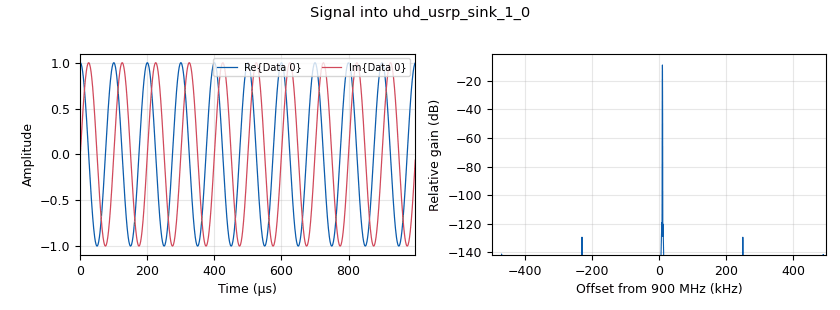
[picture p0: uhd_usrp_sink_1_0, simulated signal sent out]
<?xml version='1.0' encoding='utf-8'?>
<?grc format='1' created='3.7.11'?>
<flow_graph>
<block>
<key>options</key>
<param><key>id</key><value>antenna_test_tx</value></param>
<param><key>generate_options</key><value>qt_gui</value></param>
</block>
<block>
<key>variable_qtgui_range</key>
<param><key>id</key><value>gain</value></param>
<param><key>value</key><value>70</value></param>
<param><key>orient</key><value>Qt.Horizontal</value></param>
<param><key>start</key><value>0</value></param>
<param><key>step</key><value>1</value></param>
<param><key>stop</key><value>70</value></param>
</block>
<block>
<key>variable</key>
<param><key>id</key><value>samp_rate</value></param>
<param><key>value</key><value>1e6</value></param>
</block>
<block>
<key>variable_qtgui_chooser</key>
<param><key>id</key><value>tx_freq</value></param>
<param><key>value</key><value>900000000</value></param>
<param><key>label0</key><value>900</value></param>
<param><key>label1</key><value>2400</value></param>
<param><key>label2</key><value>5800</value></param>
<param><key>num_opts</key><value>3</value></param>
<param><key>option0</key><value>900000000</value></param>
<param><key>option1</key><value>2400000000</value></param>
<param><key>option2</key><value>5800000000</value></param>
<param><key>type</key><value>int</value></param>
</block>
<block>
<key>variable_qtgui_range</key>
<param><key>id</key><value>tx_freq</value></param>
<param><key>value</key><value>900e6</value></param>
<param><key>_enabled</key><value>0</value></param>
<param><key>orient</key><value>Qt.Horizontal</value></param>
<param><key>start</key><value>100e6</value></param>
<param><key>step</key><value>10e6</value></param>
<param><key>stop</key><value>6000e6</value></param>
</block>
<block>
<key>analog_sig_source_x</key>
<param><key>id</key><value>analog_sig_source_x_0</value></param>
<param><key>amp</key><value>1</value></param>
<param><key>freq</key><value>10000</value></param>
<param><key>offset</key><value>0</value></param>
<param><key>type</key><value>complex</value></param>
<param><key>samp_rate</key><value>samp_rate</value></param>
<param><key>waveform</key><value>analog.GR_COS_WAVE</value></param>
</block>
<block>
<key>uhd_usrp_sink</key>
<param><key>id</key><value>uhd_usrp_sink_1_0</value></param>
<param><key>ant0</key><value>TX/RX</value></param>
<param><key>center_freq0</key><value>tx_freq</value></param>
<param><key>norm_gain0</key><value>False</value></param>
<param><key>gain0</key><value>40</value></param>
<param><key>clock_rate</key><value>0.0</value></param>
<param><key>dev_args</key><value>""</value></param>
<param><key>type</key><value>fc32</value></param>
<param><key>samp_rate</key><value>1e6</value></param>
<param><key>hide_cmd_port</key><value>False</value></param>
<param><key>hide_lo_controls</key><value>True</value></param>
<param><key>sync</key><value></value></param>
<param><key>len_tag_name</key><value></value></param>
</block>
<connection><source_block_id>analog_sig_source_x_0</source_block_id><sink_block_id>uhd_usrp_sink_1_0</sink_block_id><source_key>0</source_key><sink_key>0</sink_key></connection>
</flow_graph>
